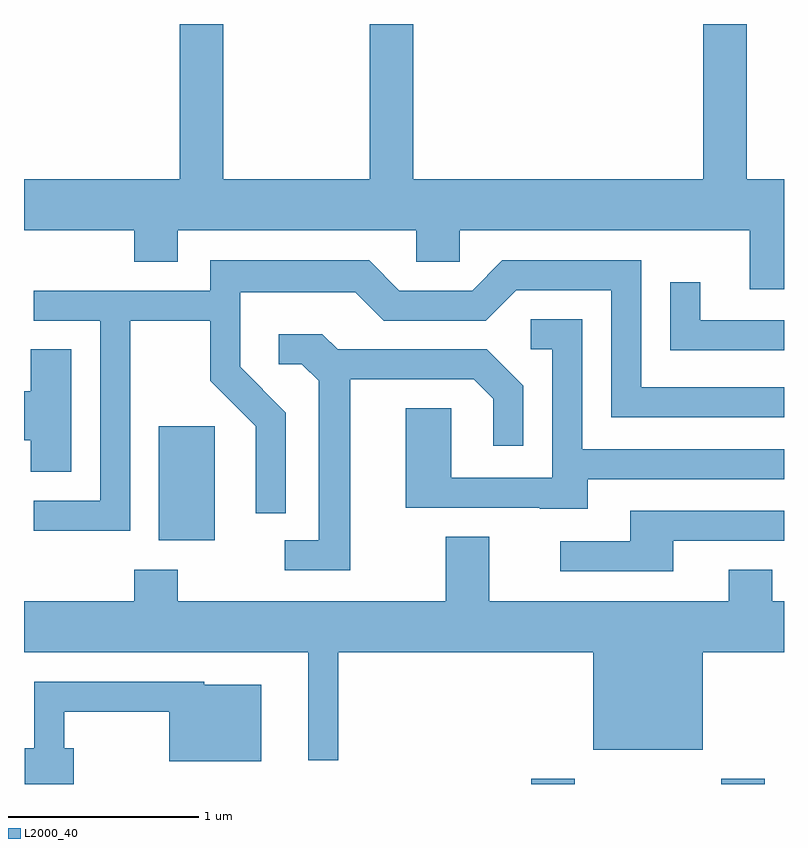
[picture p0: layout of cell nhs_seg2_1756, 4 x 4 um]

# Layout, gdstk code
import gdstk
lib = gdstk.Library(unit=1e-6, precision=1e-09)
def R(c, l, rs):  # rectangles x0, y0, x1, y1
    for r in rs: c.add(gdstk.rectangle(r[:2], r[2:], *l))
def P(c, l, *ps):  # polygons
    for p in ps: c.add(gdstk.Polygon(p, *l))
L2000_40 = (2000, 40)

nhs_seg2_1756 = lib.new_cell('nhs_seg2_1756')
R(nhs_seg2_1756, L2000_40, [(238.281,1089.802,238.509,1089.829), (239.281,1089.802,239.509,1089.829), (236.321,1091.086,236.614,1091.684)])
P(nhs_seg2_1756, L2000_40, [(237.659,1093.802),(237.431,1093.802),(237.431,1092.984),(236.659,1092.984),(236.659,1093.802),(236.431,1093.802),(236.431,1092.984),(235.611,1092.984),(235.611,1092.716),(236.191,1092.716),(236.191,1092.551),(236.419,1092.551),(236.419,1092.716),(237.676,1092.716),(237.676,1092.551),(237.904,1092.551),(237.904,1092.716),(239.431,1092.716),(239.431,1092.406),(239.611,1092.406),(239.611,1092.984),(239.414,1092.984),(239.414,1093.802),(239.186,1093.802),(239.186,1092.984),(237.659,1092.984)],
  [(236.169,1092.241),(236.591,1092.241),(236.591,1091.924),(236.831,1091.684),(236.831,1091.228),(236.989,1091.228),(236.989,1091.757),(236.749,1091.997),(236.749,1092.391),(237.354,1092.391),(237.504,1092.241),(238.042,1092.241),(238.202,1092.401),(238.701,1092.401),(238.701,1091.731),(239.611,1091.731),(239.611,1091.889),(238.859,1091.889),(238.859,1092.559),(238.129,1092.559),(237.969,1092.399),(237.587,1092.399),(237.427,1092.559),(236.591,1092.559),(236.591,1092.399),(235.663,1092.399),(235.663,1092.241),(236.011,1092.241),(236.011,1091.294),(235.663,1091.294),(235.663,1091.136),(236.169,1091.136)],
  [(239.611,1092.244),(239.169,1092.244),(239.169,1092.443),(239.011,1092.443),(239.011,1092.086),(239.611,1092.086)],
  [(238.579,1091.406),(239.611,1091.406),(239.611,1091.564),(238.549,1091.564),(238.549,1092.249),(238.278,1092.249),(238.278,1092.091),(238.391,1092.091),(238.391,1091.414),(237.859,1091.414),(237.859,1091.779),(237.621,1091.779),(237.621,1091.256),(238.325,1091.256),(238.325,1091.251),(238.579,1091.251)],
  [(237.329,1091.931),(237.979,1091.931),(238.081,1091.829),(238.081,1091.583),(238.239,1091.583),(238.239,1091.897),(238.047,1092.089),(237.262,1092.089),(237.182,1092.169),(236.953,1092.169),(236.953,1092.011),(237.074,1092.011),(237.161,1091.924),(237.161,1091.084),(236.983,1091.084),(236.983,1090.926),(237.329,1090.926)],
  [(235.859,1092.089),(235.646,1092.089),(235.646,1091.869),(235.611,1091.869),(235.611,1091.611),(235.646,1091.611),(235.646,1091.446),(235.859,1091.446)],
  [(239.029,1091.081),(239.611,1091.081),(239.611,1091.239),(238.801,1091.239),(238.801,1091.079),(238.433,1091.079),(238.433,1090.921),(239.029,1090.921)],
  [(237.264,1090.496),(238.606,1090.496),(238.606,1089.981),(239.184,1089.981),(239.184,1090.496),(239.611,1090.496),(239.611,1090.764),(239.549,1090.764),(239.549,1090.929),(239.321,1090.929),(239.321,1090.764),(238.059,1090.764),(238.059,1091.104),(237.831,1091.104),(237.831,1090.764),(236.419,1090.764),(236.419,1090.929),(236.191,1090.929),(236.191,1090.764),(235.611,1090.764),(235.611,1090.496),(237.106,1090.496),(237.106,1089.928),(237.264,1089.928)],
  [(235.874,1089.989),(235.824,1089.989),(235.824,1090.181),(236.376,1090.181),(236.376,1089.921),(236.859,1089.921),(236.859,1090.324),(236.56,1090.324),(236.56,1090.339),(235.666,1090.339),(235.666,1089.989),(235.616,1089.989),(235.616,1089.802),(235.874,1089.802)])

lib.write_gds('nhs_seg2_1756.gds')
